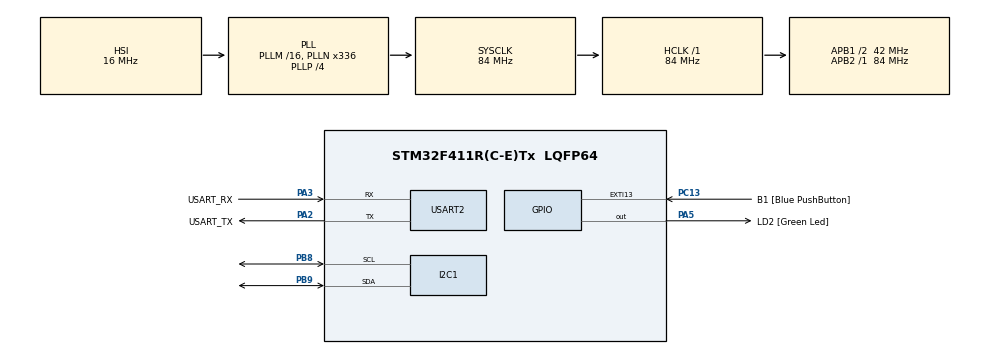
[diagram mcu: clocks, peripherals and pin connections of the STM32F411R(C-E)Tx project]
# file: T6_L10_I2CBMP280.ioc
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Mcu.Family=STM32F4
Mcu.Name=STM32F411R(C-E)Tx
Mcu.Package=LQFP64
NVIC.PriorityGroup=NVIC_PRIORITYGROUP_0
PA13.GPIO_Label=TMS
PA13.Mode=Serial_Wire
PA13.Signal=SYS_JTMS-SWDIO
PA14.GPIO_Label=TCK
PA14.Mode=Serial_Wire
PA14.Signal=SYS_JTCK-SWCLK
PA2.GPIO_Label=USART_TX
PA2.Mode=Asynchronous
PA2.Signal=USART2_TX
PA3.GPIO_Label=USART_RX
PA3.Mode=Asynchronous
PA3.Signal=USART2_RX
PA5.GPIO_Label=LD2 [Green Led]
PA5.Signal=GPIO_Output
PB3.GPIO_Label=SWO
PB3.Signal=SYS_JTDO-SWO
PB8.Mode=I2C
PB8.Signal=I2C1_SCL
PB9.Mode=I2C
PB9.Signal=I2C1_SDA
PC13-ANTI_TAMP.GPIO_Label=B1 [Blue PushButton]
PC13-ANTI_TAMP.GPIO_ModeDefaultEXTI=GPIO_MODE_IT_FALLING
PC13-ANTI_TAMP.Signal=GPXTI13
PC14-OSC32_IN.Mode=LSE-External-Oscillator
PC14-OSC32_IN.Signal=RCC_OSC32_IN
PC15-OSC32_OUT.Mode=LSE-External-Oscillator
PC15-OSC32_OUT.Signal=RCC_OSC32_OUT
PH0\ -\ OSC_IN.Mode=HSE-External-Clock-Source
PH0\ -\ OSC_IN.Signal=RCC_OSC_IN
PH1\ -\ OSC_OUT.Mode=HSE-External-Clock-Source
PH1\ -\ OSC_OUT.Signal=RCC_OSC_OUT
ProjectManager.HeapSize=0x200
ProjectManager.StackSize=0x400
ProjectManager.TargetToolchain=STM32CubeIDE
RCC.48MHZClocksFreq_Value=84000000
RCC.AHBFreq_Value=84000000
RCC.APB1CLKDivider=RCC_HCLK_DIV2
RCC.APB1Freq_Value=42000000
RCC.APB1TimFreq_Value=84000000
RCC.APB2Freq_Value=84000000
RCC.APB2TimFreq_Value=84000000
RCC.CortexFreq_Value=84000000
RCC.FLatency-AdvancedSettings=FLASH_LATENCY_2
RCC.HCLKFreq_Value=84000000
RCC.HSE_VALUE=8000000
RCC.HSI_VALUE=16000000
RCC.PLLN=336
RCC.PLLP=RCC_PLLP_DIV4
RCC.SYSCLKFreq_VALUE=84000000
RCC.SYSCLKSource=RCC_SYSCLKSOURCE_PLLCLK
RCC.VCOOutputFreq_Value=336000000
USART2.VirtualMode=VM_ASYNC
board=NUCLEO-F411RE

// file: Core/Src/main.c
/* USER CODE BEGIN Header */
/**
  ******************************************************************************
  * @file           : main.c
  * @brief          : Main program body
  ******************************************************************************
  * @attention
  *
  * <h2><center>&copy; Copyright (c) 2020 STMicroelectronics.
  * All rights reserved.</center></h2>
  *
  * This software component is licensed by ST under BSD 3-Clause license,
  * the "License"; You may not use this file except in compliance with the
  * License. You may obtain a copy of the License at:
  *                        opensource.org/licenses/BSD-3-Clause
  *
  ******************************************************************************
  */
/* USER CODE END Header */
#include "main.h"
#include "i2c.h"
#include "usart.h"
#include "gpio.h"

/* USER CODE BEGIN Includes */
#include "bmp280.h"
#include <stdio.h>
/* USER CODE END Includes */

/* USER CODE BEGIN PD */
#define BMP280_ADDRESS 0x76
/* USER CODE END PD */

/* USER CODE BEGIN PV */
BMP280_t Bmp280;
/* USER CODE END PV */

void SystemClock_Config(void);
/* USER CODE BEGIN PFP */
#ifdef __GNUC__
#define PUTCHAR_PROTOTYPE int __io_putchar(int ch)
#else
#define PUTCHAR_PROTOTYPE int fputc(int ch, FILE *f)
#endif /* __GNUC__ */

#ifndef __UUID_H
#define __UUID_H
//#define STM32_UUID ((uint32_t *)0x1FF0F420)
#define STM32_UUID ((uint32_t *)UID_BASE)
#endif //__UUID_H
/* USER CODE END PFP */

int main(void)
{

  /* MCU Configuration--------------------------------------------------------*/

  /* Reset of all peripherals, Initializes the Flash interface and the Systick. */
  HAL_Init();

  /* Configure the system clock */
  SystemClock_Config();

  /* Initialize all configured peripherals */
  MX_GPIO_Init();
  MX_USART2_UART_Init();
  MX_I2C1_Init();
  /* USER CODE BEGIN 2 */
  BMP280_Init(&Bmp280, &hi2c1, BMP280_ADDRESS);
  float Temp, Pressure;
  /* USER CODE END 2 */

  /* Infinite loop */
  /* USER CODE BEGIN WHILE */
  while (1)
  {
	  BMP280_ReadPressureAndTemperature(&Bmp280, &Pressure, &Temp);
	  printf("BMP280 data: Pressure = %.7f Temperature = %.7f \r\n", Pressure, Temp);
	  HAL_Delay(1000);
    /* USER CODE END WHILE */

  }
}

void SystemClock_Config(void)
{
  RCC_OscInitTypeDef RCC_OscInitStruct = {0};
  RCC_ClkInitTypeDef RCC_ClkInitStruct = {0};

  /** Configure the main internal regulator output voltage
  */
  __HAL_RCC_PWR_CLK_ENABLE();
  __HAL_PWR_VOLTAGESCALING_CONFIG(PWR_REGULATOR_VOLTAGE_SCALE1);
  /** Initializes the RCC Oscillators according to the specified parameters
  * in the RCC_OscInitTypeDef structure.
  */
  RCC_OscInitStruct.OscillatorType = RCC_OSCILLATORTYPE_HSI;
  RCC_OscInitStruct.HSIState = RCC_HSI_ON;
  RCC_OscInitStruct.HSICalibrationValue = RCC_HSICALIBRATION_DEFAULT;
  RCC_OscInitStruct.PLL.PLLState = RCC_PLL_ON;
  RCC_OscInitStruct.PLL.PLLSource = RCC_PLLSOURCE_HSI;
  RCC_OscInitStruct.PLL.PLLM = 16;
  RCC_OscInitStruct.PLL.PLLN = 336;
  RCC_OscInitStruct.PLL.PLLP = RCC_PLLP_DIV4;
  RCC_OscInitStruct.PLL.PLLQ = 4;
  if (HAL_RCC_OscConfig(&RCC_OscInitStruct) != HAL_OK)
  {
    Error_Handler();
  }
  /** Initializes the CPU, AHB and APB buses clocks
  */
  RCC_ClkInitStruct.ClockType = RCC_CLOCKTYPE_HCLK|RCC_CLOCKTYPE_SYSCLK
                              |RCC_CLOCKTYPE_PCLK1|RCC_CLOCKTYPE_PCLK2;
  RCC_ClkInitStruct.SYSCLKSource = RCC_SYSCLKSOURCE_PLLCLK;
  RCC_ClkInitStruct.AHBCLKDivider = RCC_SYSCLK_DIV1;
  RCC_ClkInitStruct.APB1CLKDivider = RCC_HCLK_DIV2;
  RCC_ClkInitStruct.APB2CLKDivider = RCC_HCLK_DIV1;

  if (HAL_RCC_ClockConfig(&RCC_ClkInitStruct, FLASH_LATENCY_2) != HAL_OK)
  {
    Error_Handler();
  }
}

/* USER CODE BEGIN 4 */
PUTCHAR_PROTOTYPE
{
  /* Place your implementation of fputc here */
  /* e.g. write a character to the USART2 and Loop until the end of transmission */
  HAL_UART_Transmit(&huart2, (uint8_t *)&ch, 1, 0xFFFF);

  return ch;
}
/* USER CODE END 4 */

void Error_Handler(void)
{
}

/************************ (C) COPYRIGHT STMicroelectronics *****END OF FILE****/
